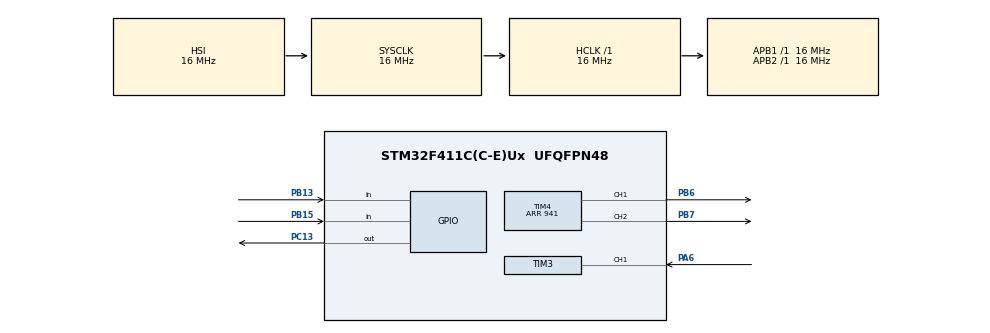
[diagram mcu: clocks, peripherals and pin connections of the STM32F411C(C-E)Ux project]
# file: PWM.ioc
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Mcu.Family=STM32F4
Mcu.Name=STM32F411C(C-E)Ux
Mcu.Package=UFQFPN48
NVIC.PriorityGroup=NVIC_PRIORITYGROUP_4
NVIC.TIM3_IRQn=true\:0\:0\:false\:false\:true\:true\:true\:true
PA13.Signal=SYS_JTMS-SWDIO
PA14.Signal=SYS_JTCK-SWCLK
PA6.Signal=S_TIM3_CH1
PB13.Signal=GPIO_Input
PB15.Signal=GPIO_Input
PB6.Signal=S_TIM4_CH1
PB7.Signal=S_TIM4_CH2
PC13-ANTI_TAMP.Signal=GPIO_Output
PC14-OSC32_IN.Signal=RCC_OSC32_IN
PC15-OSC32_OUT.Signal=RCC_OSC32_OUT
PH0\ -\ OSC_IN.Signal=RCC_OSC_IN
PH1\ -\ OSC_OUT.Signal=RCC_OSC_OUT
ProjectManager.HeapSize=0x200
ProjectManager.StackSize=0x400
ProjectManager.TargetToolchain=Makefile
RCC.AHBFreq_Value=16000000
RCC.APB1Freq_Value=16000000
RCC.APB2Freq_Value=16000000
RCC.CortexFreq_Value=16000000
RCC.HSE_VALUE=25000000
RCC.HSI_VALUE=16000000
RCC.LSE_VALUE=32768
RCC.SYSCLKFreq_VALUE=16000000
RCC.VCOOutputFreq_Value=192000000
SH.S_TIM3_CH1.0=TIM3_CH1,Input_Capture1_from_TI1
SH.S_TIM4_CH1.0=TIM4_CH1,PWM Generation1 CH1
SH.S_TIM4_CH2.0=TIM4_CH2,PWM Generation2 CH2
TIM3.Channel-Input_Capture1_from_TI1=TIM_CHANNEL_1
TIM3.Channel-Input_Capture2_from_TI1_63=TIM_CHANNEL_2
TIM3.ICPolarity_CH2=TIM_INPUTCHANNELPOLARITY_FALLING
TIM3.Period=2000
TIM3.Prescaler=1600-1
TIM4.Channel-PWM\ Generation1\ CH1=TIM_CHANNEL_1
TIM4.Channel-PWM\ Generation2\ CH2=TIM_CHANNEL_2
TIM4.Period=941
TIM4.Pulse-PWM\ Generation1\ CH1=118
VP_TIM3_VS_ClockSourceINT.Mode=Internal
VP_TIM3_VS_indirect_ch1.Mode=Input_Capture2_from_TI1_63
VP_TIM4_VS_ClockSourceINT.Mode=Internal
board=custom

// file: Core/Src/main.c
/* USER CODE BEGIN Header */
/**
 ******************************************************************************
 * @file           : main.c
 * @brief          : Main program body
 ******************************************************************************
 * @attention
 *
 * Copyright (c) 2025 STMicroelectronics.
 * All rights reserved.
 *
 * This software is licensed under terms that can be found in the LICENSE file
 * in the root directory of this software component.
 * If no LICENSE file comes with this software, it is provided AS-IS.
 *
 ******************************************************************************
 */
/* USER CODE END Header */
#include "main.h"

/* USER CODE BEGIN Includes */
#include "button.h"
/* USER CODE END Includes */

/* USER CODE BEGIN PD */
#define MAX_PWM 941
#define MIN_PWM 5
#define STEP_PWM 118 // 12,5% of 941
/* USER CODE END PD */

TIM_HandleTypeDef htim3;
TIM_HandleTypeDef htim4;

/* USER CODE BEGIN PV */
uint8_t fadeUp = 1;
uint8_t pwmValor = 0;
/* USER CODE END PV */

void SystemClock_Config(void);
static void MX_GPIO_Init(void);
static void MX_TIM4_Init(void);
static void MX_TIM3_Init(void);

int main(void)
{

  /* MCU Configuration--------------------------------------------------------*/

  /* Reset of all peripherals, Initializes the Flash interface and the Systick. */
  HAL_Init();

  /* Configure the system clock */
  SystemClock_Config();

  /* Initialize all configured peripherals */
  MX_GPIO_Init();
  MX_TIM4_Init();
  MX_TIM3_Init();
  /* USER CODE BEGIN 2 */
  HAL_TIM_PWM_Start(&htim4, TIM_CHANNEL_1);
  HAL_TIM_PWM_Start(&htim4, TIM_CHANNEL_2);
  HAL_TIM_Base_Start_IT(&htim3);
  /* USER CODE END 2 */

  /* Infinite loop */
  while (1)
  {

    /* USER CODE BEGIN 3 */
    if (button_release(GPIOB, GPIO_PIN_15, 1) && (htim4.Instance->CCR2 < MAX_PWM))
    {
      if (htim4.Instance->CCR2 + STEP_PWM > MAX_PWM)
      {
        htim4.Instance->CCR2 = MAX_PWM;
      }
      else
      {
        htim4.Instance->CCR2 += STEP_PWM;
      }
    }
    else if (button_release(GPIOB, GPIO_PIN_13, 1) && (htim4.Instance->CCR2 > MIN_PWM + STEP_PWM))
    {
      if (htim4.Instance->CCR2 - STEP_PWM < MIN_PWM)
      {
        htim4.Instance->CCR2 = MIN_PWM;
      }
      else
      {
        htim4.Instance->CCR2 -= STEP_PWM;
      }
    }

    /* for (int i = 0; i <= 100; i+=5){
    htim4.Instance-> CRR1 = (htim4.Instance-> ARR*i)/100; // set the duty cycle
    } */
  }
  /* USER CODE END 3 */
}

void SystemClock_Config(void)
{
  RCC_OscInitTypeDef RCC_OscInitStruct = {0};
  RCC_ClkInitTypeDef RCC_ClkInitStruct = {0};

  /** Configure the main internal regulator output voltage
  */
  __HAL_RCC_PWR_CLK_ENABLE();
  __HAL_PWR_VOLTAGESCALING_CONFIG(PWR_REGULATOR_VOLTAGE_SCALE1);

  /** Initializes the RCC Oscillators according to the specified parameters
  * in the RCC_OscInitTypeDef structure.
  */
  RCC_OscInitStruct.OscillatorType = RCC_OSCILLATORTYPE_HSI;
  RCC_OscInitStruct.HSIState = RCC_HSI_ON;
  RCC_OscInitStruct.HSICalibrationValue = RCC_HSICALIBRATION_DEFAULT;
  RCC_OscInitStruct.PLL.PLLState = RCC_PLL_NONE;
  if (HAL_RCC_OscConfig(&RCC_OscInitStruct) != HAL_OK)
  {
    Error_Handler();
  }

  /** Initializes the CPU, AHB and APB buses clocks
  */
  RCC_ClkInitStruct.ClockType = RCC_CLOCKTYPE_HCLK|RCC_CLOCKTYPE_SYSCLK
                              |RCC_CLOCKTYPE_PCLK1|RCC_CLOCKTYPE_PCLK2;
  RCC_ClkInitStruct.SYSCLKSource = RCC_SYSCLKSOURCE_HSI;
  RCC_ClkInitStruct.AHBCLKDivider = RCC_SYSCLK_DIV1;
  RCC_ClkInitStruct.APB1CLKDivider = RCC_HCLK_DIV1;
  RCC_ClkInitStruct.APB2CLKDivider = RCC_HCLK_DIV1;

  if (HAL_RCC_ClockConfig(&RCC_ClkInitStruct, FLASH_LATENCY_0) != HAL_OK)
  {
    Error_Handler();
  }
}

static void MX_TIM3_Init(void)
{

  TIM_ClockConfigTypeDef sClockSourceConfig = {0};
  TIM_MasterConfigTypeDef sMasterConfig = {0};
  TIM_IC_InitTypeDef sConfigIC = {0};

  htim3.Instance = TIM3;
  htim3.Init.Prescaler = 1600-1;
  htim3.Init.CounterMode = TIM_COUNTERMODE_UP;
  htim3.Init.Period = 200-1;  // 20ms
  htim3.Init.ClockDivision = TIM_CLOCKDIVISION_DIV1;
  htim3.Init.AutoReloadPreload = TIM_AUTORELOAD_PRELOAD_DISABLE;
  if (HAL_TIM_Base_Init(&htim3) != HAL_OK)
  {
    Error_Handler();
  }
  sClockSourceConfig.ClockSource = TIM_CLOCKSOURCE_INTERNAL;
  if (HAL_TIM_ConfigClockSource(&htim3, &sClockSourceConfig) != HAL_OK)
  {
    Error_Handler();
  }
  if (HAL_TIM_IC_Init(&htim3) != HAL_OK)
  {
    Error_Handler();
  }
  sMasterConfig.MasterOutputTrigger = TIM_TRGO_RESET;
  sMasterConfig.MasterSlaveMode = TIM_MASTERSLAVEMODE_DISABLE;
  if (HAL_TIMEx_MasterConfigSynchronization(&htim3, &sMasterConfig) != HAL_OK)
  {
    Error_Handler();
  }
  sConfigIC.ICPolarity = TIM_INPUTCHANNELPOLARITY_RISING;
  sConfigIC.ICSelection = TIM_ICSELECTION_DIRECTTI;
  sConfigIC.ICPrescaler = TIM_ICPSC_DIV1;
  sConfigIC.ICFilter = 0;
  if (HAL_TIM_IC_ConfigChannel(&htim3, &sConfigIC, TIM_CHANNEL_1) != HAL_OK)
  {
    Error_Handler();
  }
  sConfigIC.ICPolarity = TIM_INPUTCHANNELPOLARITY_FALLING;
  sConfigIC.ICSelection = TIM_ICSELECTION_INDIRECTTI;
  if (HAL_TIM_IC_ConfigChannel(&htim3, &sConfigIC, TIM_CHANNEL_2) != HAL_OK)
  {
    Error_Handler();
  }

}

static void MX_TIM4_Init(void)
{

  TIM_ClockConfigTypeDef sClockSourceConfig = {0};
  TIM_MasterConfigTypeDef sMasterConfig = {0};
  TIM_OC_InitTypeDef sConfigOC = {0};

  htim4.Instance = TIM4;
  htim4.Init.Prescaler = 0;
  htim4.Init.CounterMode = TIM_COUNTERMODE_UP;
  htim4.Init.Period = 941;
  htim4.Init.ClockDivision = TIM_CLOCKDIVISION_DIV1;
  htim4.Init.AutoReloadPreload = TIM_AUTORELOAD_PRELOAD_DISABLE;
  if (HAL_TIM_Base_Init(&htim4) != HAL_OK)
  {
    Error_Handler();
  }
  sClockSourceConfig.ClockSource = TIM_CLOCKSOURCE_INTERNAL;
  if (HAL_TIM_ConfigClockSource(&htim4, &sClockSourceConfig) != HAL_OK)
  {
    Error_Handler();
  }
  if (HAL_TIM_PWM_Init(&htim4) != HAL_OK)
  {
    Error_Handler();
  }
  sMasterConfig.MasterOutputTrigger = TIM_TRGO_RESET;
  sMasterConfig.MasterSlaveMode = TIM_MASTERSLAVEMODE_DISABLE;
  if (HAL_TIMEx_MasterConfigSynchronization(&htim4, &sMasterConfig) != HAL_OK)
  {
    Error_Handler();
  }
  sConfigOC.OCMode = TIM_OCMODE_PWM1;
  sConfigOC.Pulse = 118;
  sConfigOC.OCPolarity = TIM_OCPOLARITY_HIGH;
  sConfigOC.OCFastMode = TIM_OCFAST_DISABLE;
  if (HAL_TIM_PWM_ConfigChannel(&htim4, &sConfigOC, TIM_CHANNEL_1) != HAL_OK)
  {
    Error_Handler();
  }
  sConfigOC.Pulse = 0;
  if (HAL_TIM_PWM_ConfigChannel(&htim4, &sConfigOC, TIM_CHANNEL_2) != HAL_OK)
  {
    Error_Handler();
  }
  HAL_TIM_MspPostInit(&htim4);

}

static void MX_GPIO_Init(void)
{
  GPIO_InitTypeDef GPIO_InitStruct = {0};

  /* GPIO Ports Clock Enable */
  __HAL_RCC_GPIOC_CLK_ENABLE();
  __HAL_RCC_GPIOH_CLK_ENABLE();
  __HAL_RCC_GPIOA_CLK_ENABLE();
  __HAL_RCC_GPIOB_CLK_ENABLE();

  /*Configure GPIO pin Output Level */
  HAL_GPIO_WritePin(GPIOC, GPIO_PIN_13, GPIO_PIN_RESET);

  /*Configure GPIO pin : PC13 */
  GPIO_InitStruct.Pin = GPIO_PIN_13;
  GPIO_InitStruct.Mode = GPIO_MODE_OUTPUT_PP;
  GPIO_InitStruct.Pull = GPIO_NOPULL;
  GPIO_InitStruct.Speed = GPIO_SPEED_FREQ_LOW;
  HAL_GPIO_Init(GPIOC, &GPIO_InitStruct);

  /*Configure GPIO pins : PB13 PB15 */
  GPIO_InitStruct.Pin = GPIO_PIN_13|GPIO_PIN_15;
  GPIO_InitStruct.Mode = GPIO_MODE_INPUT;
  GPIO_InitStruct.Pull = GPIO_NOPULL;
  HAL_GPIO_Init(GPIOB, &GPIO_InitStruct);

}

/* USER CODE BEGIN 4 */
void HAL_TIM_PeriodElapsedCallback(TIM_HandleTypeDef *htim)
{
  if (htim->Instance == TIM3)
  {
    if (fadeUp == 1)
    {
      if (htim4.Instance->CCR1 + 9 <= MAX_PWM)
      {
        htim4.Instance->CCR1 += 9;  // about 1% of 941
        //given that the TIM3 is 20ms, this will make a fade in of about 2 second
      }
      else
      {
        fadeUp = 0;
        HAL_GPIO_WritePin(GPIOC, GPIO_PIN_13, GPIO_PIN_SET);
      }
    }
    else
    {
      if (htim4.Instance->CCR1 - 5 >= MIN_PWM)
      {
        htim4.Instance->CCR1 -= 5;  // about 0.5% of 941
        //given that the TIM3 is 20ms, this will make a fade out of about 4 second
      }
      else
      {
        fadeUp = 1;
        HAL_GPIO_WritePin(GPIOC, GPIO_PIN_13, GPIO_PIN_RESET);
      }
    }
  }
}

/* USER CODE END 4 */

void Error_Handler(void)
{
  __disable_irq();
  while (1)
  {
  }
}
